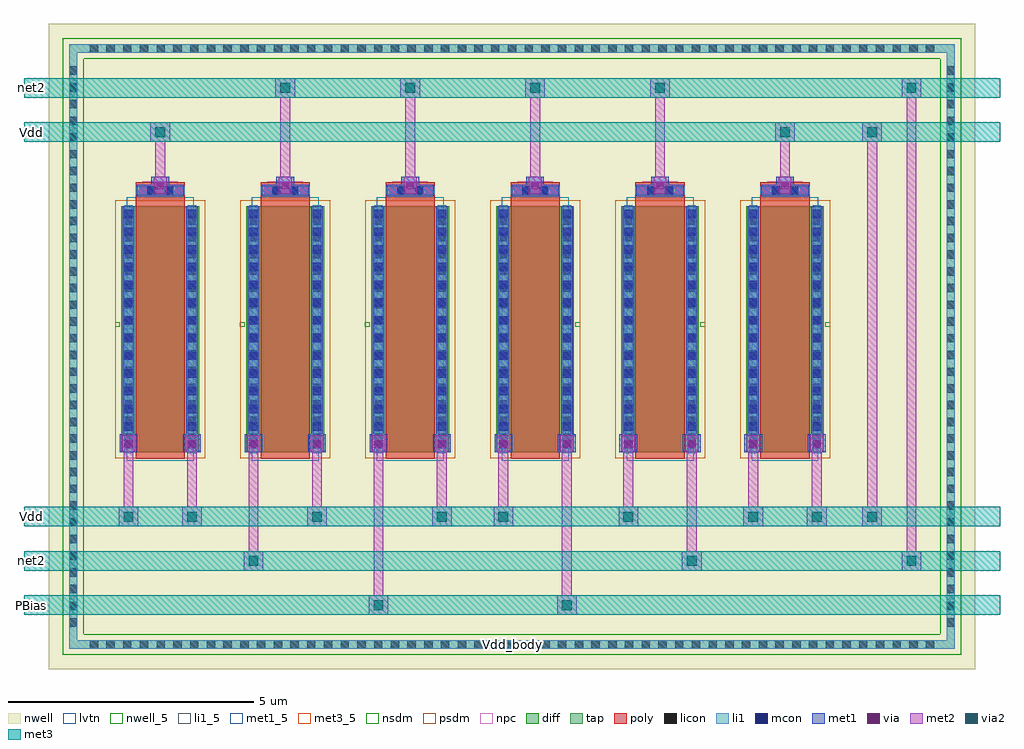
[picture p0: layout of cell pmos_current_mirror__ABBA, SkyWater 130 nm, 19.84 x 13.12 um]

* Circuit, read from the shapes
.subckt pmos_current_mirror__ABBA PBias Vdd Vdd_body net2
XM1 Vdd Vdd Vdd Vdd_body sky130_fd_pr__pfet_01v8_lvt w=5 l=1 m=2
XM2 Vdd net2 net2 Vdd_body sky130_fd_pr__pfet_01v8_lvt w=5 l=1 m=2
XM3 Vdd net2 PBias Vdd_body sky130_fd_pr__pfet_01v8_lvt w=5 l=1 m=2
.ends

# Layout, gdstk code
from math import pi, radians
import gdstk
lib = gdstk.Library(unit=1e-6, precision=1e-09)
def R(c, l, rs):  # rectangles x0, y0, x1, y1
    for r in rs: c.add(gdstk.rectangle(r[:2], r[2:], *l))
def A(c, l, x, y, w, h, nx, ny, dx, dy):  # array of equal rectangles
    R(c, l, [(x+i*dx, y+j*dy, x+i*dx+w, y+j*dy+h) for i in range(nx) for j in range(ny)])
nwell_5 = (64, 5)
nwell = (64, 20)
diff = (65, 20)
tap = (65, 44)
poly = (66, 20)
licon = (66, 44)
li1_5 = (67, 5)
li1 = (67, 20)
mcon = (67, 44)
met1_5 = (68, 5)
met1 = (68, 20)
via = (68, 44)
met2 = (69, 20)
via2 = (69, 44)
met3_5 = (70, 5)
met3 = (70, 20)
nsdm = (93, 44)
psdm = (94, 20)
npc = (95, 20)
lvtn = (125, 44)

sky130_fd_pr__pfet_01v8_ = lib.new_cell('sky130_fd_pr__pfet_01v8_lvt_7Q9QDH')
R(sky130_fd_pr__pfet_01v8_, nwell, [(-0.97,-2.99,0.97,2.82)])
R(sky130_fd_pr__pfet_01v8_, diff, [(-0.79,-2.68,0.79,2.32)])
R(sky130_fd_pr__pfet_01v8_, poly, [(-0.5,-2.81,0.5,2.805)])
A(sky130_fd_pr__pfet_01v8_, licon, -0.73, -2.475, 0.17, 0.17, 1, 14, 0, 0.34)
A(sky130_fd_pr__pfet_01v8_, licon, 0.56, -2.475, 0.17, 0.17, 1, 14, 0, 0.34)
R(sky130_fd_pr__pfet_01v8_, licon, [(-0.255,2.555,-0.085,2.725), (0.085,2.555,0.255,2.725)])
R(sky130_fd_pr__pfet_01v8_, li1, [(-0.73,-2.7,-0.56,2.34), (0.56,-2.7,0.73,2.34), (-0.5,2.555,0.5,2.725)])
A(sky130_fd_pr__pfet_01v8_, mcon, -0.73, -2.605, 0.17, 0.17, 1, 14, 0, 0.36)
A(sky130_fd_pr__pfet_01v8_, mcon, 0.56, -2.605, 0.17, 0.17, 1, 14, 0, 0.36)
R(sky130_fd_pr__pfet_01v8_, mcon, [(-0.265,2.555,-0.095,2.725), (0.095,2.555,0.265,2.725)])
R(sky130_fd_pr__pfet_01v8_, met1, [(-0.76,-2.68,-0.53,2.32), (0.53,-2.68,0.76,2.32), (-0.48,2.525,0.48,2.755)])
R(sky130_fd_pr__pfet_01v8_, psdm, [(-0.915,-2.805,0.915,2.445)])
R(sky130_fd_pr__pfet_01v8_, npc, [(-0.355,2.455,0.355,2.825)])
R(sky130_fd_pr__pfet_01v8_, lvtn, [(-0.68,-2.86,0.68,2.5)])
sky130_fd_pr__pfet_01v8_.add(gdstk.Label('D', (-0.645,-0.18), layer=67, texttype=5))
sky130_fd_pr__pfet_01v8_.add(gdstk.Label('S', (0.645,-0.18), layer=67, texttype=5))
sky130_fd_pr__pfet_01v8_.add(gdstk.Label('G', (0,2.64), layer=67, texttype=5))

pfet_01v8_lvt_w5_l1_m2__ = lib.new_cell('pfet_01v8_lvt_W5_L1_m2__nf1_gtop_sdfull_ng')
R(pfet_01v8_lvt_w5_l1_m2__, nwell_5, [(0.05,2.855,0.15,2.955)])
R(pfet_01v8_lvt_w5_l1_m2__, nwell, [(0.05,2.855,0.15,2.955)])
R(pfet_01v8_lvt_w5_l1_m2__, met1_5, [(0.21,2.81,0.44,3.01), (1.5,2.81,1.73,3.01), (0.49,5.515,1.45,5.745)])
R(pfet_01v8_lvt_w5_l1_m2__, met1, [(0.21,2.81,0.44,3.01), (1.5,2.81,1.73,3.01), (0.49,5.515,1.45,5.745)])
pfet_01v8_lvt_w5_l1_m2__.add(gdstk.Reference(sky130_fd_pr__pfet_01v8_, (0.97,2.99)))
pfet_01v8_lvt_w5_l1_m2__.add(gdstk.Label('D', (0.325,2.91), layer=68, texttype=5))
pfet_01v8_lvt_w5_l1_m2__.add(gdstk.Label('S', (1.615,2.91), layer=68, texttype=5))
pfet_01v8_lvt_w5_l1_m2__.add(gdstk.Label('G', (0.97,5.63), layer=68, texttype=5))
pfet_01v8_lvt_w5_l1_m2__.add(gdstk.Label('B', (0.1,2.905), layer=64, texttype=5))

pmos_current_mirror__abb = lib.new_cell('pmos_current_mirror__ABBA')
R(pmos_current_mirror__abb, nwell, [(-1.3,-4.1,17.54,9.015)])
R(pmos_current_mirror__abb, tap, [(-0.885,-3.685,17.125,-3.515), (-0.885,-3.515,-0.715,8.43), (16.955,-3.515,17.125,8.43), (-0.885,8.43,17.125,8.6)])
A(pmos_current_mirror__abb, licon, -0.465, -3.685, 0.17, 0.17, 51, 2, 0.34, 12.115)
A(pmos_current_mirror__abb, licon, -0.885, -3.24, 0.17, 0.17, 1, 34, 0, 0.34)
A(pmos_current_mirror__abb, licon, 16.955, -3.24, 0.17, 0.17, 1, 34, 0, 0.34)
R(pmos_current_mirror__abb, li1_5, [(8.07,-3.65,8.17,-3.55)])
R(pmos_current_mirror__abb, li1, [(-0.885,-3.685,17.125,-3.515), (-0.885,-3.515,-0.715,8.43), (16.955,-3.515,17.125,8.43), (-0.885,8.43,17.125,8.6)])
A(pmos_current_mirror__abb, met1, 0.79, 5.545, 0.36, 0.36, 6, 1, 2.54, 0)
R(pmos_current_mirror__abb, met1, [(0.145,0.31,0.505,0.67), (1.435,0.31,1.795,0.67), (2.685,0.31,3.045,0.67), (3.975,0.31,4.335,0.67), (5.225,0.31,5.585,0.67), (6.515,0.31,6.875,0.67), (7.765,0.31,8.125,0.67), (9.055,0.31,9.415,0.67), (10.305,0.31,10.665,0.67), (11.595,0.31,11.955,0.67), (12.845,0.31,13.205,0.67), (14.135,0.31,14.495,0.67)])
A(pmos_current_mirror__abb, via, 0.895, 5.65, 0.15, 0.15, 6, 1, 2.54, 0)
R(pmos_current_mirror__abb, via, [(0.25,0.415,0.4,0.565), (1.54,0.415,1.69,0.565), (2.79,0.415,2.94,0.565), (4.08,0.415,4.23,0.565), (5.33,0.415,5.48,0.565), (6.62,0.415,6.77,0.565), (7.87,0.415,8.02,0.565), (9.16,0.415,9.31,0.565), (10.41,0.415,10.56,0.565), (11.7,0.415,11.85,0.565), (12.95,0.415,13.1,0.565), (14.24,0.415,14.39,0.565)])
A(pmos_current_mirror__abb, met2, 1.415, -1.2, 0.4, 0.4, 3, 1, 2.54, 0)
A(pmos_current_mirror__abb, met2, 7.745, -1.2, 0.4, 0.4, 3, 1, 2.54, 0)
A(pmos_current_mirror__abb, met2, 1.515, -0.8, 0.2, 1.13, 3, 1, 2.54, 0)
A(pmos_current_mirror__abb, met2, 7.845, -0.8, 0.2, 1.13, 3, 1, 2.54, 0)
A(pmos_current_mirror__abb, met2, 0.84, 5.565, 0.26, 0.32, 6, 1, 2.54, 0)
A(pmos_current_mirror__abb, met2, 3.41, 5.885, 0.2, 1.63, 4, 1, 2.54, 0)
A(pmos_current_mirror__abb, met2, 3.31, 7.515, 0.4, 0.4, 4, 1, 2.54, 0)
R(pmos_current_mirror__abb, met2, [(5.205,-3,5.605,-2.6), (9.035,-3,9.435,-2.6), (5.305,-2.6,5.505,0.33), (9.135,-2.6,9.335,0.33), (2.665,-2.1,3.065,-1.7), (11.575,-2.1,11.975,-1.7), (16.04,-2.1,16.44,-1.7), (2.765,-1.7,2.965,0.33), (11.675,-1.7,11.875,0.33), (16.14,-1.7,16.34,7.515), (0.125,-1.2,0.525,-0.8), (14.115,-1.2,14.515,-0.8), (15.24,-1.2,15.64,-0.8), (0.225,-0.8,0.425,0.33), (14.215,-0.8,14.415,0.33), (15.34,-0.8,15.54,6.615), (0.195,0.33,0.455,0.65), (1.485,0.33,1.745,0.65), (2.735,0.33,2.995,0.65), (4.025,0.33,4.285,0.65), (5.275,0.33,5.535,0.65), (6.565,0.33,6.825,0.65), (7.815,0.33,8.075,0.65), (9.105,0.33,9.365,0.65), (10.355,0.33,10.615,0.65), (11.645,0.33,11.905,0.65), (12.895,0.33,13.155,0.65), (14.185,0.33,14.445,0.65), (0.87,5.885,1.07,6.615), (13.57,5.885,13.77,6.615), (0.77,6.615,1.17,7.015), (13.47,6.615,13.87,7.015), (15.24,6.615,15.64,7.015), (16.04,7.515,16.44,7.915)])
A(pmos_current_mirror__abb, via2, 1.515, -1.1, 0.2, 0.2, 3, 1, 2.54, 0)
A(pmos_current_mirror__abb, via2, 7.845, -1.1, 0.2, 0.2, 3, 1, 2.54, 0)
A(pmos_current_mirror__abb, via2, 3.41, 7.615, 0.2, 0.2, 4, 1, 2.54, 0)
R(pmos_current_mirror__abb, via2, [(5.305,-2.9,5.505,-2.7), (9.135,-2.9,9.335,-2.7), (2.765,-2,2.965,-1.8), (11.675,-2,11.875,-1.8), (16.14,-2,16.34,-1.8), (0.225,-1.1,0.425,-0.9), (14.215,-1.1,14.415,-0.9), (15.34,-1.1,15.54,-0.9), (0.87,6.715,1.07,6.915), (13.57,6.715,13.77,6.915), (15.34,6.715,15.54,6.915), (16.14,7.615,16.34,7.815)])
A(pmos_current_mirror__abb, met3_5, -1.7, -2.85, 0.1, 0.1, 1, 3, 0, 0.9)
R(pmos_current_mirror__abb, met3_5, [(-1.7,6.765,-1.6,6.865), (-1.7,7.665,-1.6,7.765)])
A(pmos_current_mirror__abb, met3, -1.8, -3, 19.84, 0.4, 1, 3, 0, 0.9)
R(pmos_current_mirror__abb, met3, [(-1.8,6.615,18.04,7.015), (-1.8,7.515,18.04,7.915)])
R(pmos_current_mirror__abb, nsdm, [(-1.01,-3.81,17.25,-3.39), (-1.01,-3.39,-0.59,8.305), (16.83,-3.39,17.25,8.305), (-1.01,8.305,17.25,8.725)])
pmos_current_mirror__abb.add(gdstk.Reference(pfet_01v8_lvt_w5_l1_m2__, (14.64,0), rotation=pi, x_reflection=True))
pmos_current_mirror__abb.add(gdstk.Reference(pfet_01v8_lvt_w5_l1_m2__, (12.1,0), rotation=pi, x_reflection=True))
pmos_current_mirror__abb.add(gdstk.Reference(pfet_01v8_lvt_w5_l1_m2__, (9.56,0), rotation=pi, x_reflection=True))
pmos_current_mirror__abb.add(gdstk.Reference(pfet_01v8_lvt_w5_l1_m2__, (5.08,0)))
pmos_current_mirror__abb.add(gdstk.Reference(pfet_01v8_lvt_w5_l1_m2__, (2.54,0)))
pmos_current_mirror__abb.add(gdstk.Reference(pfet_01v8_lvt_w5_l1_m2__, (0,0)))
pmos_current_mirror__abb.add(gdstk.Label('Vdd', (-1.65,6.815), layer=70, texttype=5))
pmos_current_mirror__abb.add(gdstk.Label('net2', (-1.65,7.715), layer=70, texttype=5))
pmos_current_mirror__abb.add(gdstk.Label('Vdd', (-1.65,-1), layer=70, texttype=5))
pmos_current_mirror__abb.add(gdstk.Label('net2', (-1.65,-1.9), layer=70, texttype=5))
pmos_current_mirror__abb.add(gdstk.Label('PBias', (-1.65,-2.8), layer=70, texttype=5))
pmos_current_mirror__abb.add(gdstk.Label('Vdd_body', (8.12,-3.6), layer=67, texttype=5))

lib.write_gds('pmos_current_mirror__ABBA.gds')
